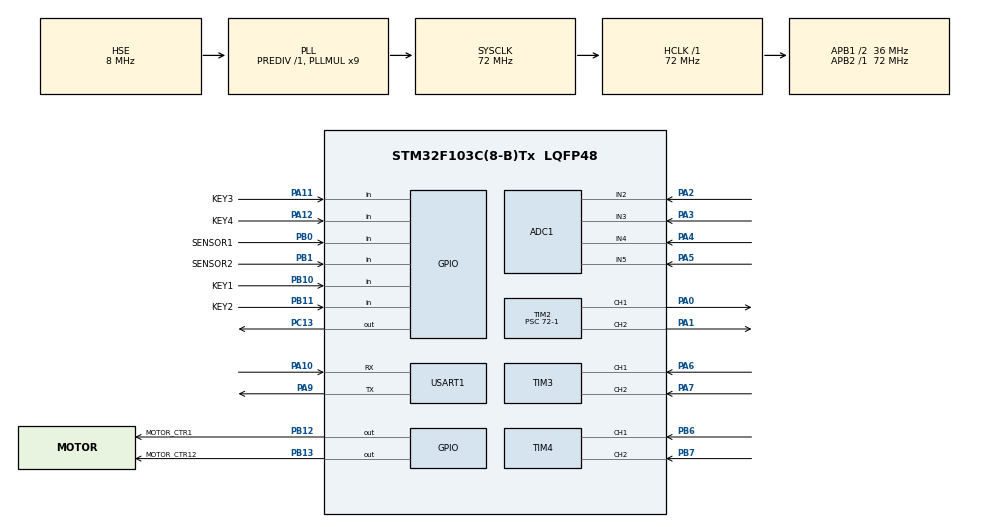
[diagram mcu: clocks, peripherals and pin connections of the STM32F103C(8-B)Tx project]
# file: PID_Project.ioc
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ADC1.Channel-0\#ChannelRegularConversion=ADC_CHANNEL_2
ADC1.Channel-1\#ChannelRegularConversion=ADC_CHANNEL_3
ADC1.Channel-2\#ChannelRegularConversion=ADC_CHANNEL_4
ADC1.Channel-3\#ChannelRegularConversion=ADC_CHANNEL_5
ADC1.ContinuousConvMode=ENABLE
ADC1.NbrOfConversion=4
ADC1.NbrOfConversionFlag=1
ADC1.Rank-0\#ChannelRegularConversion=1
ADC1.Rank-1\#ChannelRegularConversion=2
ADC1.Rank-2\#ChannelRegularConversion=3
ADC1.Rank-3\#ChannelRegularConversion=4
ADC1.SamplingTime-0\#ChannelRegularConversion=ADC_SAMPLETIME_1CYCLE_5
ADC1.SamplingTime-1\#ChannelRegularConversion=ADC_SAMPLETIME_1CYCLE_5
ADC1.SamplingTime-2\#ChannelRegularConversion=ADC_SAMPLETIME_1CYCLE_5
ADC1.SamplingTime-3\#ChannelRegularConversion=ADC_SAMPLETIME_1CYCLE_5
ADC1.master=1
Mcu.Family=STM32F1
Mcu.Name=STM32F103C(8-B)Tx
Mcu.Package=LQFP48
NVIC.PriorityGroup=NVIC_PRIORITYGROUP_4
NVIC.TIM1_UP_IRQn=true\:0\:0\:false\:false\:true\:true\:true
NVIC.TIM2_IRQn=true\:0\:0\:false\:false\:true\:true\:true
PA0-WKUP.Signal=S_TIM2_CH1_ETR
PA1.Signal=S_TIM2_CH2
PA10.Mode=Asynchronous
PA10.Signal=USART1_RX
PA11.GPIO_Label=KEY3
PA11.GPIO_PuPd=GPIO_PULLUP
PA11.Signal=GPIO_Input
PA12.GPIO_Label=KEY4
PA12.GPIO_PuPd=GPIO_PULLUP
PA12.Signal=GPIO_Input
PA13.Mode=Serial_Wire
PA13.Signal=SYS_JTMS-SWDIO
PA14.Mode=Serial_Wire
PA14.Signal=SYS_JTCK-SWCLK
PA2.Signal=ADCx_IN2
PA3.Signal=ADCx_IN3
PA4.Signal=ADCx_IN4
PA5.Signal=ADCx_IN5
PA6.Signal=S_TIM3_CH1
PA7.Signal=S_TIM3_CH2
PA9.Mode=Asynchronous
PA9.Signal=USART1_TX
PB0.GPIO_Label=SENSOR1
PB0.GPIO_PuPd=GPIO_PULLUP
PB0.Signal=GPIO_Input
PB1.GPIO_Label=SENSOR2
PB1.GPIO_PuPd=GPIO_PULLUP
PB1.Signal=GPIO_Input
PB10.GPIO_Label=KEY1
PB10.GPIO_PuPd=GPIO_PULLUP
PB10.Signal=GPIO_Input
PB11.GPIO_Label=KEY2
PB11.GPIO_PuPd=GPIO_PULLUP
PB11.Signal=GPIO_Input
PB12.GPIO_Label=MOTOR_CTR1
PB12.GPIO_Speed=GPIO_SPEED_FREQ_HIGH
PB12.Signal=GPIO_Output
PB13.GPIO_Label=MOTOR_CTR12
PB13.GPIO_Speed=GPIO_SPEED_FREQ_HIGH
PB13.Signal=GPIO_Output
PB6.Signal=S_TIM4_CH1
PB7.Signal=S_TIM4_CH2
PC13-TAMPER-RTC.Signal=GPIO_Output
PC14-OSC32_IN.Mode=LSE-External-Oscillator
PC14-OSC32_IN.Signal=RCC_OSC32_IN
PC15-OSC32_OUT.Mode=LSE-External-Oscillator
PC15-OSC32_OUT.Signal=RCC_OSC32_OUT
PD0-OSC_IN.Mode=HSE-External-Oscillator
PD0-OSC_IN.Signal=RCC_OSC_IN
PD1-OSC_OUT.Mode=HSE-External-Oscillator
PD1-OSC_OUT.Signal=RCC_OSC_OUT
ProjectManager.HeapSize=0x200
ProjectManager.StackSize=0x400
ProjectManager.TargetToolchain=MDK-ARM V5.32
RCC.ADCPresc=RCC_ADCPCLK2_DIV6
RCC.AHBFreq_Value=72000000
RCC.APB1CLKDivider=RCC_HCLK_DIV2
RCC.APB1Freq_Value=36000000
RCC.APB1TimFreq_Value=72000000
RCC.APB2Freq_Value=72000000
RCC.APB2TimFreq_Value=72000000
RCC.HCLKFreq_Value=72000000
RCC.PLLMUL=RCC_PLL_MUL9
RCC.PLLSourceVirtual=RCC_PLLSOURCE_HSE
RCC.SYSCLKFreq_VALUE=72000000
RCC.SYSCLKSource=RCC_SYSCLKSOURCE_PLLCLK
RCC.USBFreq_Value=72000000
SH.ADCx_IN2.0=ADC1_IN2,IN2
SH.ADCx_IN3.0=ADC1_IN3,IN3
SH.ADCx_IN4.0=ADC1_IN4,IN4
SH.ADCx_IN5.0=ADC1_IN5,IN5
SH.S_TIM2_CH1_ETR.0=TIM2_CH1,PWM Generation1 CH1
SH.S_TIM2_CH2.0=TIM2_CH2,PWM Generation2 CH2
SH.S_TIM3_CH1.0=TIM3_CH1,Encoder_Interface
SH.S_TIM3_CH2.0=TIM3_CH2,Encoder_Interface
SH.S_TIM4_CH1.0=TIM4_CH1,Encoder_Interface
SH.S_TIM4_CH2.0=TIM4_CH2,Encoder_Interface
TIM2.Channel-PWM\ Generation1\ CH1=TIM_CHANNEL_1
TIM2.Channel-PWM\ Generation2\ CH2=TIM_CHANNEL_2
TIM2.Period=1000-1
TIM2.Prescaler=72-1
USART1.VirtualMode=VM_ASYNC
VP_TIM1_VS_ClockSourceINT.Mode=Internal
VP_TIM2_VS_ClockSourceINT.Mode=Internal
board=custom

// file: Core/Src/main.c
/* USER CODE BEGIN Header */
/**
  ******************************************************************************
  * @file           : main.c
  * @brief          : Main program body
  ******************************************************************************
  * @attention
  *
  * Copyright (c) 2025 STMicroelectronics.
  * All rights reserved.
  *
  * This software is licensed under terms that can be found in the LICENSE file
  * in the root directory of this software component.
  * If no LICENSE file comes with this software, it is provided AS-IS.
  *
  ******************************************************************************
  */
/* USER CODE END Header */
#include "main.h"
#include "adc.h"
#include "tim.h"
#include "usart.h"
#include "gpio.h"

/* USER CODE BEGIN Includes */
#include "OLED.h"
#include "my_key.h"
#include "motor.h"
/* USER CODE END Includes */

void SystemClock_Config(void);

/* USER CODE BEGIN 0 */
void my_oled_test(void)
{
	/*在(0, 0)位置显示字符'A'，字体大小为8*16点阵*/
	OLED_ShowChar(0, 0, 'A', OLED_8X16);
	/*在(16, 0)位置显示字符串"Hello World!"，字体大小为8*16点阵*/
	OLED_ShowString(16, 0, "Hello World!", OLED_8X16);
	/*在(0, 18)位置显示字符'A'，字体大小为6*8点阵*/
	OLED_ShowChar(0, 18, 'A', OLED_6X8);
	/*在(16, 18)位置显示字符串"Hello World!"，字体大小为6*8点阵*/
	OLED_ShowString(16, 18, "Hello World!", OLED_6X8);
	/*在(0, 28)位置显示数字12345，长度为5，字体大小为6*8点阵*/
	OLED_ShowNum(0, 28, 12345, 5, OLED_6X8);
	/*在(40, 28)位置显示有符号数字-66，长度为2，字体大小为6*8点阵*/
	OLED_ShowSignedNum(40, 28, -66, 2, OLED_6X8);
	/*在(70, 28)位置显示十六进制数字0xA5A5，长度为4，字体大小为6*8点阵*/
	OLED_ShowHexNum(70, 28, 0xA5A5, 4, OLED_6X8);
	/*在(0, 38)位置显示二进制数字0xA5，长度为8，字体大小为6*8点阵*/
	OLED_ShowBinNum(0, 38, 0xA5, 8, OLED_6X8);
	/*在(60, 38)位置显示浮点数字123.45，整数部分长度为3，小数部分长度为2，字体大小为6*8点阵*/
	OLED_ShowFloatNum(60, 38, 123.45, 3, 2, OLED_6X8);
	/*在(0, 48)位置显示英文和汉字串"Hello,世界。"，支持中英文混写*/
	OLED_ShowString(0, 48, "Hello,世界。", OLED_8X16);
	/*在(96, 48)位置显示图像，宽16像素，高16像素，图像数据为Diode数组*/
	OLED_ShowImage(96, 48, 16, 16, Diode);
	/*在(96, 18)位置打印格式化字符串，字体大小为6*8点阵，格式化字符串为"[%02d]"*/
	OLED_Printf(96, 18, OLED_6X8, "[%02d]", 6);
	/*调用OLED_Update函数，将OLED显存数组的内容更新到OLED硬件进行显示*/
	OLED_Update();
	/*延时3000ms，观察现象*/
	HAL_Delay(3000);
	/*清空OLED显存数组*/
	OLED_Clear();

	/*在(5, 8)位置画点*/
	OLED_DrawPoint(5, 8);
	/*获取(5, 8)位置的点*/
	if (OLED_GetPoint(5, 8))
	{
		/*如果指定点点亮，则在(10, 4)位置显示字符串"YES"，字体大小为6*8点阵*/
		OLED_ShowString(10, 4, "YES", OLED_6X8);
	}
	else
	{
		/*如果指定点未点亮，则在(10, 4)位置显示字符串"NO "，字体大小为6*8点阵*/
		OLED_ShowString(10, 4, "NO ", OLED_6X8);
	}

	/*在(40, 0)和(127, 15)位置之间画直线*/
	OLED_DrawLine(40, 0, 127, 15);
	/*在(40, 15)和(127, 0)位置之间画直线*/
	OLED_DrawLine(40, 15, 127, 0);
	/*在(0, 20)位置画矩形，宽12像素，高15像素，未填充*/
	OLED_DrawRectangle(0, 20, 12, 15, OLED_UNFILLED);
	/*在(0, 40)位置画矩形，宽12像素，高15像素，填充*/
	OLED_DrawRectangle(0, 40, 12, 15, OLED_FILLED);
	/*在(20, 20)、(40, 25)和(30, 35)位置之间画三角形，未填充*/
	OLED_DrawTriangle(20, 20, 40, 25, 30, 35, OLED_UNFILLED);
	/*在(20, 40)、(40, 45)和(30, 55)位置之间画三角形，填充*/
	OLED_DrawTriangle(20, 40, 40, 45, 30, 55, OLED_FILLED);
	/*在(55, 27)位置画圆，半径8像素，未填充*/
	OLED_DrawCircle(55, 27, 8, OLED_UNFILLED);
	/*在(55, 47)位置画圆，半径8像素，填充*/
	OLED_DrawCircle(55, 47, 8, OLED_FILLED);
	/*在(82, 27)位置画椭圆，横向半轴12像素，纵向半轴8像素，未填充*/
	OLED_DrawEllipse(82, 27, 12, 8, OLED_UNFILLED);
	/*在(82, 47)位置画椭圆，横向半轴12像素，纵向半轴8像素，填充*/
	OLED_DrawEllipse(82, 47, 12, 8, OLED_FILLED);
	/*在(110, 18)位置画圆弧，半径15像素，起始角度25度，终止角度125度，未填充*/
	OLED_DrawArc(110, 18, 15, 25, 125, OLED_UNFILLED);
	/*在(110, 38)位置画圆弧，半径15像素，起始角度25度，终止角度125度，填充*/
	OLED_DrawArc(110, 38, 15, 25, 125, OLED_FILLED);
	/*调用OLED_Update函数，将OLED显存数组的内容更新到OLED硬件进行显示*/
	OLED_Update();
	/*延时3000ms，观察现象*/
	HAL_Delay(1000);

	/*清空OLED显存数组*/
	OLED_Clear();
}
/* USER CODE END 0 */

int main(void)
{

  /* MCU Configuration--------------------------------------------------------*/

  /* Reset of all peripherals, Initializes the Flash interface and the Systick. */
  HAL_Init();

  /* Configure the system clock */
  SystemClock_Config();

  /* Initialize all configured peripherals */
  MX_GPIO_Init();
  MX_ADC1_Init();
  MX_TIM2_Init();
  MX_TIM3_Init();
  MX_TIM4_Init();
  MX_USART1_UART_Init();
  MX_TIM1_Init();
  /* USER CODE BEGIN 2 */
	OLED_Init();
//	my_oled_test();
	HAL_TIM_Base_Start_IT(&htim1); 								// htim1 定时器更新中断
	HAL_TIM_Encoder_Start(&htim3, TIM_CHANNEL_ALL);  			// 启动htim3编码器模式
//	HAL_TIM_Encoder_Start(&htim4, TIM_CHANNEL_ALL);  			// 启动htim4编码器模式

	/*pwm启动*/
	HAL_TIM_PWM_Start(&htim2, TIM_CHANNEL_1);			//启动 PWM TIM_CHANNEL_1 PWM信号输出

//	HAL_TIM_PWM_Start(&htim2, TIM_CHANNEL_2);			//启动 PWM TIM_CHANNEL_2 PWM信号输出
//	__HAL_TIM_SetCompare(&htim2, TIM_CHANNEL_2, 500);	//设置 PWM TIM_CHANNEL_2 PWM信号输出

	/*OLED打印一个标题*/
	OLED_Printf(0, 0, OLED_8X16, "systerm start!");
	OLED_Update();
	HAL_Delay(2000);
	OLED_Clear();				//清空显存数组
	OLED_Update();				//更新显示，清屏，防止初始化后未显示内容时花屏
	OLED_Printf(0, 0, OLED_8X16, "Speed Control");
	OLED_Update();

	Motor_SetPWM(100);
	HAL_Delay(2000);
	Motor_SetPWM(-100);
	HAL_Delay(2000);

	Motor_SetPWM(0);
  /* USER CODE END 2 */

  /* Infinite loop */
  /* USER CODE BEGIN WHILE */
  while (1)
  {
	  HAL_GPIO_TogglePin(GPIOC, GPIO_PIN_13);
	  HAL_Delay(500);

	  Read_All_ADC_Channels();							//电位器读取值
	  my_key_test_func();								//按键OLED显示
    /* USER CODE END WHILE */

  }
}

void SystemClock_Config(void)
{
  RCC_OscInitTypeDef RCC_OscInitStruct = {0};
  RCC_ClkInitTypeDef RCC_ClkInitStruct = {0};
  RCC_PeriphCLKInitTypeDef PeriphClkInit = {0};

  /** Initializes the RCC Oscillators according to the specified parameters
  * in the RCC_OscInitTypeDef structure.
  */
  RCC_OscInitStruct.OscillatorType = RCC_OSCILLATORTYPE_HSE;
  RCC_OscInitStruct.HSEState = RCC_HSE_ON;
  RCC_OscInitStruct.HSEPredivValue = RCC_HSE_PREDIV_DIV1;
  RCC_OscInitStruct.HSIState = RCC_HSI_ON;
  RCC_OscInitStruct.PLL.PLLState = RCC_PLL_ON;
  RCC_OscInitStruct.PLL.PLLSource = RCC_PLLSOURCE_HSE;
  RCC_OscInitStruct.PLL.PLLMUL = RCC_PLL_MUL9;
  if (HAL_RCC_OscConfig(&RCC_OscInitStruct) != HAL_OK)
  {
    Error_Handler();
  }
  /** Initializes the CPU, AHB and APB buses clocks
  */
  RCC_ClkInitStruct.ClockType = RCC_CLOCKTYPE_HCLK|RCC_CLOCKTYPE_SYSCLK
                              |RCC_CLOCKTYPE_PCLK1|RCC_CLOCKTYPE_PCLK2;
  RCC_ClkInitStruct.SYSCLKSource = RCC_SYSCLKSOURCE_PLLCLK;
  RCC_ClkInitStruct.AHBCLKDivider = RCC_SYSCLK_DIV1;
  RCC_ClkInitStruct.APB1CLKDivider = RCC_HCLK_DIV2;
  RCC_ClkInitStruct.APB2CLKDivider = RCC_HCLK_DIV1;

  if (HAL_RCC_ClockConfig(&RCC_ClkInitStruct, FLASH_LATENCY_2) != HAL_OK)
  {
    Error_Handler();
  }
  PeriphClkInit.PeriphClockSelection = RCC_PERIPHCLK_ADC;
  PeriphClkInit.AdcClockSelection = RCC_ADCPCLK2_DIV6;
  if (HAL_RCCEx_PeriphCLKConfig(&PeriphClkInit) != HAL_OK)
  {
    Error_Handler();
  }
}

void Error_Handler(void)
{
  __disable_irq();
  while (1)
  {
  }
}
